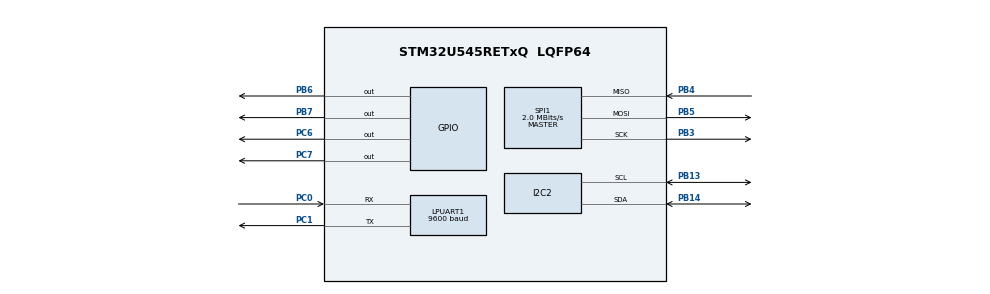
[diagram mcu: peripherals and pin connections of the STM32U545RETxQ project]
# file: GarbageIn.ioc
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CORTEX_M33_NS.userName=CORTEX_M33
I2C2.Timing=0x00000E14
LPUART1.BaudRate=9600
Mcu.Family=STM32U5
Mcu.Name=STM32U545RETxQ
Mcu.Package=LQFP64
NVIC.PriorityGroup=NVIC_PRIORITYGROUP_4
PA13\ (JTMS/SWDIO).Mode=Serial_Wire
PA13\ (JTMS/SWDIO).Signal=DEBUG_JTMS-SWDIO
PA14\ (JTCK/SWCLK).Mode=Serial_Wire
PA14\ (JTCK/SWCLK).Signal=DEBUG_JTCK-SWCLK
PB13.Mode=I2C
PB13.Signal=I2C2_SCL
PB14.Mode=I2C
PB14.Signal=I2C2_SDA
PB3\ (JTDO/TRACESWO).Mode=Full_Duplex_Master
PB3\ (JTDO/TRACESWO).Signal=SPI1_SCK
PB4\ (NJTRST).Mode=Full_Duplex_Master
PB4\ (NJTRST).Signal=SPI1_MISO
PB5.Mode=Full_Duplex_Master
PB5.Signal=SPI1_MOSI
PB6.GPIO_PuPd=GPIO_NOPULL
PB6.PinState=GPIO_PIN_RESET
PB6.Signal=GPIO_Output
PB7.GPIO_PuPd=GPIO_PULLUP
PB7.PinState=GPIO_PIN_SET
PB7.Signal=GPIO_Output
PC0.Mode=Asynchronous
PC0.Signal=LPUART1_RX
PC1.Mode=Asynchronous
PC1.Signal=LPUART1_TX
PC6.GPIO_PuPd=GPIO_PULLUP
PC6.PinState=GPIO_PIN_SET
PC6.Signal=GPIO_Output
PC7.GPIO_PuPd=GPIO_PULLUP
PC7.PinState=GPIO_PIN_SET
PC7.Signal=GPIO_Output
PWR.pwrPrivilege=PWR_PRIVILEGE_NO
ProjectManager.HeapSize=0x200
ProjectManager.StackSize=0x400
ProjectManager.TargetToolchain=STM32CubeIDE
RCC.ADCFreq_Value=16000000
RCC.DACCLockSelectionVirtual=RCC_DAC1CLKSOURCE_LSI
RCC.DACCLockSelectionVirtualString=RCC_DAC1CLKSOURCE_LSI
RCC.EPOD_VALUE=4000000
RCC.HSE_VALUE=16000000
RCC.HSI48_VALUE=48000000
RCC.HSI_VALUE=16000000
RCC.LSE_VALUE=32768
RCC.LSIDIV_VALUE=32000
RCC.MSI_VALUE=4000000
RCC.USBFreq_Value=48000000
RCC.VCOOutputFreq_Value=516000000
SPI1.CalculateBaudRate=2.0 MBits/s
SPI1.DataSize=SPI_DATASIZE_8BIT
SPI1.Direction=SPI_DIRECTION_2LINES
SPI1.Mode=SPI_MODE_MASTER
SPI1.VirtualType=VM_MASTER
VP_LPBAMQUEUE_VS_QUEUE.Mode=QUEUEMODE
VP_LPBAM_VS_SIG1.Mode=SmartRun
VP_LPBAM_VS_SIG4.Mode=LPDMA1
VP_MEMORYMAP_VS_MEMORYMAP.Mode=CurAppReg
VP_PWR_VS_SECSignals.Mode=Security/Privilege
board=custom

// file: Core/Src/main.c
/* USER CODE BEGIN Header */
/**
  ******************************************************************************
  * @file           : main.c
  * @brief          : Main program body
  ******************************************************************************
  * @attention
  *
  * Copyright (c) 2025 STMicroelectronics.
  * All rights reserved.
  *
  * This software is licensed under terms that can be found in the LICENSE file
  * in the root directory of this software component.
  * If no LICENSE file comes with this software, it is provided AS-IS.
  *
  ******************************************************************************
  */
/* USER CODE END Header */
#include "main.h"

/* USER CODE BEGIN Includes */
#include "math.h"
#include "string.h"
#include "stdio.h"
#include "Accel.h"
#include "Gyro.h"
#include "IMU.h"
#include "Vectors.h"
/* USER CODE END Includes */

I2C_HandleTypeDef hi2c2;

UART_HandleTypeDef hlpuart1;

SPI_HandleTypeDef hspi1;

void SystemClock_Config(void);
static void MX_GPIO_Init(void);
static void MX_LPUART1_UART_Init(void);
static void MX_SPI1_Init(void);
static void MX_I2C2_Init(void);

/* USER CODE BEGIN 0 */
uint8_t err[] = {'e', 'r', 'r', 'o', 'r', '\n', '\r'};
/* USER CODE END 0 */

int main(void)
{

  /* MCU Configuration--------------------------------------------------------*/

  /* Reset of all peripherals, Initializes the Flash interface and the Systick. */
  HAL_Init();

  /* Configure the system clock */
  SystemClock_Config();

  /* Initialize all configured peripherals */
  MX_GPIO_Init();
  MX_LPUART1_UART_Init();
  MX_SPI1_Init();
  MX_I2C2_Init();
  /* USER CODE BEGIN 2 */
  IMU_INIT(&hspi1);
  IMU_SETUP_FOR_LOGGING();
  IMU_ENABLE_ALL();

  HAL_Delay(3000);

  int imuready = IMU_READY();
  while(imuready != 1) {
	  imuready = IMU_READY();
	  HAL_UART_Transmit(&hlpuart1, err, 7, 1000);
	  HAL_Delay(5000);
  }

  struct Vector3 xyz_a;
  struct Vector3 xyz_v; xyz_v.x = 0; xyz_v.y = 0; xyz_v.z = 0;
  struct Vector3 xyz_p; xyz_p.x = 0; xyz_p.y = 0; xyz_p.z = 0;

  struct Vector3 rpy_v;
  struct Vector3 rpy_p; rpy_p.x = 0; rpy_p.y = 0; rpy_p.z = 0;

  struct Vector3 xyz_ground; xyz_ground.x = 0; xyz_ground.y =0; xyz_ground.z = 0;
//  for(int i = 0; i < 5; i++) {
//	  xyz_a = ACCEL_READ_ACCELERATION();
//	  xyz_ground.x += xyz_a.x / 5;
//	  xyz_ground.y += xyz_a.y / 5;
//	  xyz_ground.z += xyz_a.z / 5;
//	  HAL_Delay(5);
//  }

  float cr, sr, cp, sp, cy, sy;
  float aX, aY, aZ;

  uint32_t last = HAL_GetTick();
  /* USER CODE END 2 */

  /* Infinite loop */
  /* USER CODE BEGIN WHILE */
  while (1)
  {
//	  for(int i = 0; i < 1000; i++) {
//		  uint32_t now = HAL_GetTick();
//		  float dt = (now - last) / 1000.0f;
//		  last = now;
//		  xyz_a = ACCEL_READ_ACCELERATION();
//		  rpy_v = GYRO_READ_RATES();
//
//		  xyz_a = vSub(xyz_a, xyz_ground);
//		  rpy_v.x -= 0.00263f;
//		  rpy_v.y += 0.001145f;
//		  rpy_v.z -= 0.000884f;
//
//		  cr = cosf(rpy_p.x); sr = sinf(rpy_p.x);
//		  cp = cosf(rpy_p.y); sp = sinf(rpy_p.y);
//		  cy = cosf(rpy_p.z); sy = sinf(rpy_p.z);
//
//		  xyz_p.x += xyz_v.x * dt;
//		  xyz_p.y += xyz_v.y * dt;
//		  xyz_p.z += xyz_v.z * dt;
//
//		  aX = cy * cp * xyz_a.x + (cy * sp * sr - sy * cr) * xyz_a.y + (cy * sp * cr + sy * sr) * xyz_a.z;
//		  aY = sy * cp * xyz_a.x + (sy * sp * sr + cy * cr) * xyz_a.y + (sy * sp * cr - cy * sr) * xyz_a.z;
//		  aZ = -sp * xyz_a.x + (cp * sr) * xyz_a.y + (cp * cr) * xyz_a.z;
//
//		  xyz_v.x += aX * dt;
//		  xyz_v.y += aY * dt;
//		  xyz_v.z += aZ * dt;
//
//		  rpy_p.x += rpy_v.x * dt;
//		  rpy_p.y += rpy_v.y * dt;
//		  rpy_p.z += rpy_v.z * dt;
//
//		  float accel_roll  = atan2f(xyz_a.y, xyz_a.z);
//		  float accel_pitch = atan2f(-xyz_a.x, sqrtf(xyz_a.y*xyz_a.y + xyz_a.z*xyz_a.z));
//
//		  float alpha = 0.99f;   // usually 0.95–0.99
//
//		  rpy_p.x = alpha * rpy_p.x + (1.0f - alpha) * accel_roll;
//		  rpy_p.y = alpha * rpy_p.y + (1.0f - alpha) * accel_pitch;
//
//		  HAL_Delay(5);
//	  }
	  char msg[100];
	  xyz_a = ACCEL_READ_ACCELERATION();
	  snprintf(msg, sizeof(msg), "%.3f,%.3f,%.3f\n\r", xyz_a.x, xyz_a.y, xyz_a.z);
	  HAL_UART_Transmit(&hlpuart1, (uint8_t*)msg, strlen(msg), HAL_MAX_DELAY);
    /* USER CODE END WHILE */

  }
}

void SystemClock_Config(void)
{
  RCC_OscInitTypeDef RCC_OscInitStruct = {0};
  RCC_ClkInitTypeDef RCC_ClkInitStruct = {0};

  /** Configure the main internal regulator output voltage
  */
  if (HAL_PWREx_ControlVoltageScaling(PWR_REGULATOR_VOLTAGE_SCALE4) != HAL_OK)
  {
    Error_Handler();
  }

  /** Initializes the CPU, AHB and APB buses clocks
  */
  RCC_OscInitStruct.OscillatorType = RCC_OSCILLATORTYPE_MSI;
  RCC_OscInitStruct.MSIState = RCC_MSI_ON;
  RCC_OscInitStruct.MSICalibrationValue = RCC_MSICALIBRATION_DEFAULT;
  RCC_OscInitStruct.MSIClockRange = RCC_MSIRANGE_4;
  RCC_OscInitStruct.PLL.PLLState = RCC_PLL_NONE;
  if (HAL_RCC_OscConfig(&RCC_OscInitStruct) != HAL_OK)
  {
    Error_Handler();
  }

  /** Initializes the CPU, AHB and APB buses clocks
  */
  RCC_ClkInitStruct.ClockType = RCC_CLOCKTYPE_HCLK|RCC_CLOCKTYPE_SYSCLK
                              |RCC_CLOCKTYPE_PCLK1|RCC_CLOCKTYPE_PCLK2
                              |RCC_CLOCKTYPE_PCLK3;
  RCC_ClkInitStruct.SYSCLKSource = RCC_SYSCLKSOURCE_MSI;
  RCC_ClkInitStruct.AHBCLKDivider = RCC_SYSCLK_DIV1;
  RCC_ClkInitStruct.APB1CLKDivider = RCC_HCLK_DIV1;
  RCC_ClkInitStruct.APB2CLKDivider = RCC_HCLK_DIV1;
  RCC_ClkInitStruct.APB3CLKDivider = RCC_HCLK_DIV1;

  if (HAL_RCC_ClockConfig(&RCC_ClkInitStruct, FLASH_LATENCY_0) != HAL_OK)
  {
    Error_Handler();
  }
}

static void MX_I2C2_Init(void)
{

  hi2c2.Instance = I2C2;
  hi2c2.Init.Timing = 0x00000E14;
  hi2c2.Init.OwnAddress1 = 0;
  hi2c2.Init.AddressingMode = I2C_ADDRESSINGMODE_7BIT;
  hi2c2.Init.DualAddressMode = I2C_DUALADDRESS_DISABLE;
  hi2c2.Init.OwnAddress2 = 0;
  hi2c2.Init.OwnAddress2Masks = I2C_OA2_NOMASK;
  hi2c2.Init.GeneralCallMode = I2C_GENERALCALL_DISABLE;
  hi2c2.Init.NoStretchMode = I2C_NOSTRETCH_DISABLE;
  if (HAL_I2C_Init(&hi2c2) != HAL_OK)
  {
    Error_Handler();
  }

  /** Configure Analogue filter
  */
  if (HAL_I2CEx_ConfigAnalogFilter(&hi2c2, I2C_ANALOGFILTER_ENABLE) != HAL_OK)
  {
    Error_Handler();
  }

  /** Configure Digital filter
  */
  if (HAL_I2CEx_ConfigDigitalFilter(&hi2c2, 0) != HAL_OK)
  {
    Error_Handler();
  }

}

static void MX_LPUART1_UART_Init(void)
{

  hlpuart1.Instance = LPUART1;
  hlpuart1.Init.BaudRate = 9600;
  hlpuart1.Init.WordLength = UART_WORDLENGTH_8B;
  hlpuart1.Init.StopBits = UART_STOPBITS_1;
  hlpuart1.Init.Parity = UART_PARITY_NONE;
  hlpuart1.Init.Mode = UART_MODE_TX_RX;
  hlpuart1.Init.HwFlowCtl = UART_HWCONTROL_NONE;
  hlpuart1.Init.OneBitSampling = UART_ONE_BIT_SAMPLE_DISABLE;
  hlpuart1.AdvancedInit.AdvFeatureInit = UART_ADVFEATURE_NO_INIT;
  hlpuart1.FifoMode = UART_FIFOMODE_DISABLE;
  if (HAL_UART_Init(&hlpuart1) != HAL_OK)
  {
    Error_Handler();
  }
  if (HAL_UARTEx_SetTxFifoThreshold(&hlpuart1, UART_TXFIFO_THRESHOLD_1_8) != HAL_OK)
  {
    Error_Handler();
  }
  if (HAL_UARTEx_SetRxFifoThreshold(&hlpuart1, UART_RXFIFO_THRESHOLD_1_8) != HAL_OK)
  {
    Error_Handler();
  }
  if (HAL_UARTEx_DisableFifoMode(&hlpuart1) != HAL_OK)
  {
    Error_Handler();
  }

}

static void MX_SPI1_Init(void)
{

  SPI_AutonomousModeConfTypeDef HAL_SPI_AutonomousMode_Cfg_Struct = {0};

  /* SPI1 parameter configuration*/
  hspi1.Instance = SPI1;
  hspi1.Init.Mode = SPI_MODE_MASTER;
  hspi1.Init.Direction = SPI_DIRECTION_2LINES;
  hspi1.Init.DataSize = SPI_DATASIZE_8BIT;
  hspi1.Init.CLKPolarity = SPI_POLARITY_LOW;
  hspi1.Init.CLKPhase = SPI_PHASE_1EDGE;
  hspi1.Init.NSS = SPI_NSS_SOFT;
  hspi1.Init.BaudRatePrescaler = SPI_BAUDRATEPRESCALER_2;
  hspi1.Init.FirstBit = SPI_FIRSTBIT_MSB;
  hspi1.Init.TIMode = SPI_TIMODE_DISABLE;
  hspi1.Init.CRCCalculation = SPI_CRCCALCULATION_DISABLE;
  hspi1.Init.CRCPolynomial = 0x7;
  hspi1.Init.NSSPMode = SPI_NSS_PULSE_ENABLE;
  hspi1.Init.NSSPolarity = SPI_NSS_POLARITY_LOW;
  hspi1.Init.FifoThreshold = SPI_FIFO_THRESHOLD_01DATA;
  hspi1.Init.MasterSSIdleness = SPI_MASTER_SS_IDLENESS_00CYCLE;
  hspi1.Init.MasterInterDataIdleness = SPI_MASTER_INTERDATA_IDLENESS_00CYCLE;
  hspi1.Init.MasterReceiverAutoSusp = SPI_MASTER_RX_AUTOSUSP_DISABLE;
  hspi1.Init.MasterKeepIOState = SPI_MASTER_KEEP_IO_STATE_DISABLE;
  hspi1.Init.IOSwap = SPI_IO_SWAP_DISABLE;
  hspi1.Init.ReadyMasterManagement = SPI_RDY_MASTER_MANAGEMENT_INTERNALLY;
  hspi1.Init.ReadyPolarity = SPI_RDY_POLARITY_HIGH;
  if (HAL_SPI_Init(&hspi1) != HAL_OK)
  {
    Error_Handler();
  }
  HAL_SPI_AutonomousMode_Cfg_Struct.TriggerState = SPI_AUTO_MODE_DISABLE;
  HAL_SPI_AutonomousMode_Cfg_Struct.TriggerSelection = SPI_GRP1_GPDMA_CH0_TCF_TRG;
  HAL_SPI_AutonomousMode_Cfg_Struct.TriggerPolarity = SPI_TRIG_POLARITY_RISING;
  if (HAL_SPIEx_SetConfigAutonomousMode(&hspi1, &HAL_SPI_AutonomousMode_Cfg_Struct) != HAL_OK)
  {
    Error_Handler();
  }

}

static void MX_GPIO_Init(void)
{
  GPIO_InitTypeDef GPIO_InitStruct = {0};

  /* GPIO Ports Clock Enable */
  __HAL_RCC_GPIOC_CLK_ENABLE();
  __HAL_RCC_GPIOB_CLK_ENABLE();
  __HAL_RCC_GPIOA_CLK_ENABLE();

  /*Configure GPIO pin Output Level */
  HAL_GPIO_WritePin(GPIOC, GPIO_PIN_6|GPIO_PIN_7, GPIO_PIN_SET);

  /*Configure GPIO pin Output Level */
  HAL_GPIO_WritePin(GPIOB, GPIO_PIN_6, GPIO_PIN_RESET);

  /*Configure GPIO pin Output Level */
  HAL_GPIO_WritePin(GPIOB, GPIO_PIN_7, GPIO_PIN_SET);

  /*Configure GPIO pins : PC6 PC7 */
  GPIO_InitStruct.Pin = GPIO_PIN_6|GPIO_PIN_7;
  GPIO_InitStruct.Mode = GPIO_MODE_OUTPUT_PP;
  GPIO_InitStruct.Pull = GPIO_PULLUP;
  GPIO_InitStruct.Speed = GPIO_SPEED_FREQ_LOW;
  HAL_GPIO_Init(GPIOC, &GPIO_InitStruct);

  /*Configure GPIO pin : PB6 */
  GPIO_InitStruct.Pin = GPIO_PIN_6;
  GPIO_InitStruct.Mode = GPIO_MODE_OUTPUT_PP;
  GPIO_InitStruct.Pull = GPIO_NOPULL;
  GPIO_InitStruct.Speed = GPIO_SPEED_FREQ_LOW;
  HAL_GPIO_Init(GPIOB, &GPIO_InitStruct);

  /*Configure GPIO pin : PB7 */
  GPIO_InitStruct.Pin = GPIO_PIN_7;
  GPIO_InitStruct.Mode = GPIO_MODE_OUTPUT_PP;
  GPIO_InitStruct.Pull = GPIO_PULLUP;
  GPIO_InitStruct.Speed = GPIO_SPEED_FREQ_LOW;
  HAL_GPIO_Init(GPIOB, &GPIO_InitStruct);

}

void Error_Handler(void)
{
  __disable_irq();
  while (1)
  {
  }
}
